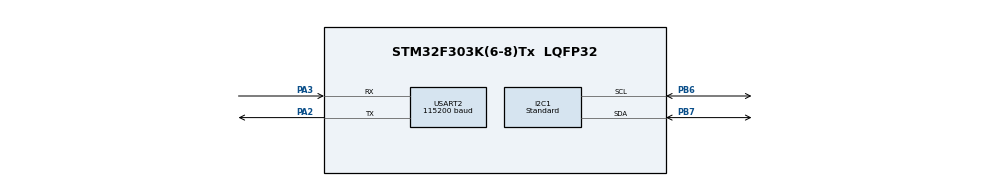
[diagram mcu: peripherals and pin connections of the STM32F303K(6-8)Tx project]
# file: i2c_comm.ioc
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I2C1.I2C_Speed_Mode=I2C_Standard
I2C1.OwnAddress=1
Mcu.Family=STM32F3
Mcu.Name=STM32F303K(6-8)Tx
Mcu.Package=LQFP32
NVIC.I2C1_EV_IRQn=true\:0\:0\:false\:false\:true\:true\:true\:true
NVIC.PriorityGroup=NVIC_PRIORITYGROUP_4
PA2.Mode=Asynchronous
PA2.Signal=USART2_TX
PA3.Mode=Asynchronous
PA3.Signal=USART2_RX
PB6.Mode=I2C
PB6.Signal=I2C1_SCL
PB7.Mode=I2C
PB7.Signal=I2C1_SDA
ProjectManager.HeapSize=0x200
ProjectManager.StackSize=0x400
ProjectManager.TargetToolchain=STM32CubeIDE
RCC.AHBFreq_Value=8000000
RCC.APB1Freq_Value=8000000
RCC.APB2Freq_Value=8000000
RCC.CortexFreq_Value=8000000
RCC.HSE_VALUE=8000000
RCC.HSI_VALUE=8000000
RCC.SYSCLKFreq_VALUE=8000000
USART2.BaudRate=115200
USART2.VirtualMode-Asynchronous=VM_ASYNC
board=custom

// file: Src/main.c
/* USER CODE BEGIN Header */
/**
  ******************************************************************************
  * @file           : main.c
  * @brief          : Main program body
  ******************************************************************************
  * @attention
  *
  * <h2><center>&copy; Copyright (c) 2019 STMicroelectronics.
  * All rights reserved.</center></h2>
  *
  * This software component is licensed by ST under BSD 3-Clause license,
  * the "License"; You may not use this file except in compliance with the
  * License. You may obtain a copy of the License at:
  *                        opensource.org/licenses/BSD-3-Clause
  *
  ******************************************************************************
  */
/* USER CODE END Header */

#include "main.h"
#include "i2c.h"
#include "usart.h"
#include "gpio.h"

/* USER CODE BEGIN Includes */
#include <stdio.h>
#include "hts221.h"
#include "lps25hb.h"
/* USER CODE END Includes */

/* USER CODE BEGIN PV */
static const HTS221_Interface_t hts221_interface =
{
	i2c_master_read_byte,
	i2c_master_write_byte,
	i2c_master_read_multi,
	i2c_master_write_multi
};

static const LPS25HB_Interface_t lps25hb_interface =
{
	i2c_master_read_byte,
	i2c_master_write_byte,
	i2c_master_read_multi,
	i2c_master_write_multi
};
/* USER CODE END PV */

void SystemClock_Config(void);
/* USER CODE BEGIN PFP */
static int32_t round_scaled(float value, int32_t scale);
static void format_fixed(char *buffer, uint32_t size, int32_t scaled_value, uint8_t decimals);
static uint8_t measure_reference_pressure(float *reference_pressure);
/* USER CODE END PFP */

int main(void)
{

  /* MCU Configuration--------------------------------------------------------*/

  /* Reset of all peripherals, Initializes the Flash interface and the Systick. */

  LL_APB2_GRP1_EnableClock(LL_APB2_GRP1_PERIPH_SYSCFG);
  LL_APB1_GRP1_EnableClock(LL_APB1_GRP1_PERIPH_PWR);

  NVIC_SetPriorityGrouping(NVIC_PRIORITYGROUP_4);

  /* System interrupt init*/

  /* Configure the system clock */
  SystemClock_Config();

  /* Initialize all configured peripherals */
  MX_GPIO_Init();
  MX_I2C1_Init();
  MX_USART2_UART_Init();
  /* USER CODE BEGIN 2 */

  float reference_pressure = 0.0f;

  HTS221_RegisterInterface(&hts221_interface);
  LPS25HB_RegisterInterface(&lps25hb_interface);

  while(HTS221_Init() != HTS221_OK)
  {
	  USART2_SendString("HTS221 init error\r\n");
	  LL_mDelay(1000);
  }

  while(LPS25HB_Init() != LPS25HB_OK)
  {
	  USART2_SendString("LPS25HB init error\r\n");
	  LL_mDelay(1000);
  }

  while(measure_reference_pressure(&reference_pressure) != 0U)
  {
	  USART2_SendString("Reference pressure error\r\n");
	  LL_mDelay(1000);
  }
  /* USER CODE END 2 */

  /* Infinite loop */
  while (1)
  {

    /* USER CODE BEGIN 3 */
	  float temperature,humidity, pressure,height;

	  if((HTS221_ReadTemperature(&temperature) == HTS221_OK) && (HTS221_ReadHumidity(&humidity) == HTS221_OK) && (LPS25HB_ReadPressure(&pressure) == LPS25HB_OK))
	  {
		  char temperature_text[16];
		  char humidity_text[16];
		  char pressure_text[16];
		  char height_text[16];
		  char line[80];

		  height = LPS25HB_CalcRelativeHeight(pressure, reference_pressure);

		  format_fixed(temperature_text, sizeof(temperature_text), round_scaled(temperature, 10), 1);
		  format_fixed(humidity_text, sizeof(humidity_text), round_scaled(humidity, 1), 0);
		  format_fixed(pressure_text, sizeof(pressure_text), round_scaled(pressure, 100), 2);
		  format_fixed(height_text, sizeof(height_text), round_scaled(height, 100), 2);

		  snprintf(line, sizeof(line), "%s,%s,%s,%s\r\n", temperature_text, humidity_text, pressure_text, height_text);
		  USART2_SendString(line);
	  }

	  LL_mDelay(MEASURE_PERIOD_MS);
  }
  /* USER CODE END 3 */
}

void SystemClock_Config(void)
{
  LL_FLASH_SetLatency(LL_FLASH_LATENCY_0);

  if(LL_FLASH_GetLatency() != LL_FLASH_LATENCY_0)
  {
  Error_Handler();
  }
  LL_RCC_HSI_Enable();

   /* Wait till HSI is ready */
  while(LL_RCC_HSI_IsReady() != 1)
  {

  }
  LL_RCC_HSI_SetCalibTrimming(16);
  LL_RCC_SetAHBPrescaler(LL_RCC_SYSCLK_DIV_1);
  LL_RCC_SetAPB1Prescaler(LL_RCC_APB1_DIV_1);
  LL_RCC_SetAPB2Prescaler(LL_RCC_APB1_DIV_1);
  LL_RCC_SetSysClkSource(LL_RCC_SYS_CLKSOURCE_HSI);

   /* Wait till System clock is ready */
  while(LL_RCC_GetSysClkSource() != LL_RCC_SYS_CLKSOURCE_STATUS_HSI)
  {

  }
  LL_Init1msTick(8000000);
  LL_SYSTICK_SetClkSource(LL_SYSTICK_CLKSOURCE_HCLK);
  LL_SetSystemCoreClock(8000000);
  LL_RCC_SetI2CClockSource(LL_RCC_I2C1_CLKSOURCE_HSI);
}

/* USER CODE BEGIN 4 */
static int32_t round_scaled(float value, int32_t scale){
	float scaled = value * (float)scale;

	if(scaled >= 0.0f){
		return (int32_t)(scaled + 0.5f);
	}
    return (int32_t)(scaled - 0.5f);
}

static void format_fixed(char *buffer, uint32_t size, int32_t scaled_value, uint8_t decimals)
{
	const char *sign = "";
	uint32_t magnitude;
	uint32_t divisor = 1U;

	if(scaled_value < 0){
		sign = "-";
		magnitude = (uint32_t)(-scaled_value);
	}
	else{
		magnitude = (uint32_t)scaled_value;
	}

	for(uint8_t i = 0; i < decimals; i++){
		divisor *= 10U;
	}

	if(decimals == 0U){
		snprintf(buffer, size, "%s%lu", sign, (unsigned long)magnitude);
	}
	else if(decimals == 1U){
		snprintf(buffer, size, "%s%lu.%lu", sign, (unsigned long)(magnitude / divisor), (unsigned long)(magnitude % divisor));
	}
	else{
		snprintf(buffer, size, "%s%lu.%02lu", sign, (unsigned long)(magnitude / divisor), (unsigned long)(magnitude % divisor));
	}
}

static uint8_t measure_reference_pressure(float *reference_pressure)
{
	float sum = 0.0f;
	float minimum = 0.0f;
	float maximum = 0.0f;
	float pressure;
	uint32_t samples = 0U;
	uint32_t skipped = 0U;

	for(uint32_t attempt = 0U; attempt < REFERENCE_MAX_ATTEMPTS; attempt++)
	{
		if(LPS25HB_ReadPressure(&pressure) == LPS25HB_OK){
			if(skipped < 5U){
				skipped++;
			}
			else{
				if(samples == 0U){
					minimum = pressure;
					maximum = pressure;
					sum = 0.0f;
				}

				if(pressure < minimum){
					minimum = pressure;
				}
				if(pressure > maximum){
					maximum = pressure;
				}

				sum += pressure;
				samples++;

				if((maximum - minimum) > 1.0f){
					samples = 0U;
				}
				else if(samples >= REFERENCE_SAMPLES){
					*reference_pressure = sum / (float)samples;
					return 0U;
				}
			}
		}

		LL_mDelay(MEASURE_PERIOD_MS);
	}

	return 1U;
}
/* USER CODE END 4 */

void Error_Handler(void)
{
}

/************************ (C) COPYRIGHT STMicroelectronics *****END OF FILE****/
